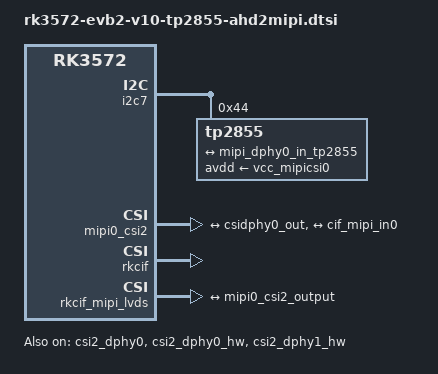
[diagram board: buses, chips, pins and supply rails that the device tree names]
// SPDX-License-Identifier: (GPL-2.0+ OR MIT)
/*
 * Copyright (c) 2026 Rockchip Electronics Co., Ltd.
 *
 */

&csi2_dphy0 {
	status = "okay";

	ports {
		#address-cells = <1>;
		#size-cells = <0>;
		port@0 {
			reg = <0>;
			#address-cells = <1>;
			#size-cells = <0>;

			mipi_dphy0_in_tp2855: endpoint@1 {
				reg = <1>;
				remote-endpoint = <&tp2855_out0>;
				data-lanes = <1 2 3 4>;
			};
		};
		port@1 {
			reg = <1>;
			#address-cells = <1>;
			#size-cells = <0>;

			csidphy0_out: endpoint@0 {
				reg = <0>;
				remote-endpoint = <&mipi0_csi2_input>;
			};
		};
	};
};

&csi2_dphy0_hw {
	status = "okay";
};

&csi2_dphy1_hw {
	status = "okay";
};

&i2c7 {
	status = "okay";
	pinctrl-names = "default";
	pinctrl-0 = <&i2c7m1_xfer_pins>;

	tp2855: tp2855@44 {
		compatible = "tp2855";
		status = "okay";
		reg = <0x44>;
		clocks = <&cru CAM_CLK0_OUT_IOUT>;
		clock-names = "xvclk";
		power-domains = <&power RK3572_PD_VI>;
		// pinctrl-names = "default";
		// pinctrl-0 = <&cam_clk0m1_clk0_pins>;
		avdd-supply = <&vcc_mipicsi0>;
		rockchip,camera-module-index = <0>;
		rockchip,camera-module-facing = "back";
		rockchip,camera-module-name = "default";
		rockchip,camera-module-lens-name = "default";

		port {
			tp2855_out0: endpoint {
				remote-endpoint = <&mipi_dphy0_in_tp2855>;
				data-lanes = <1 2 3 4>;
			};
		};
	};
};

&mipi0_csi2 {
	status = "okay";

	ports {
		#address-cells = <1>;
		#size-cells = <0>;

		port@0 {
			reg = <0>;
			#address-cells = <1>;
			#size-cells = <0>;

			mipi0_csi2_input: endpoint@1 {
				reg = <1>;
				remote-endpoint = <&csidphy0_out>;
			};
		};

		port@1 {
			reg = <1>;
			#address-cells = <1>;
			#size-cells = <0>;

			mipi0_csi2_output: endpoint@0 {
				reg = <0>;
				remote-endpoint = <&cif_mipi_in0>;
			};
		};
	};
};

&rkcif {
	status = "okay";
	rockchip,android-usb-camerahal-enable;
};

&rkcif_mipi_lvds {
	status = "okay";

	port {
		cif_mipi_in0: endpoint {
			remote-endpoint = <&mipi0_csi2_output>;
		};
	};
};

&rkcif_mmu {
	status = "okay";
};
